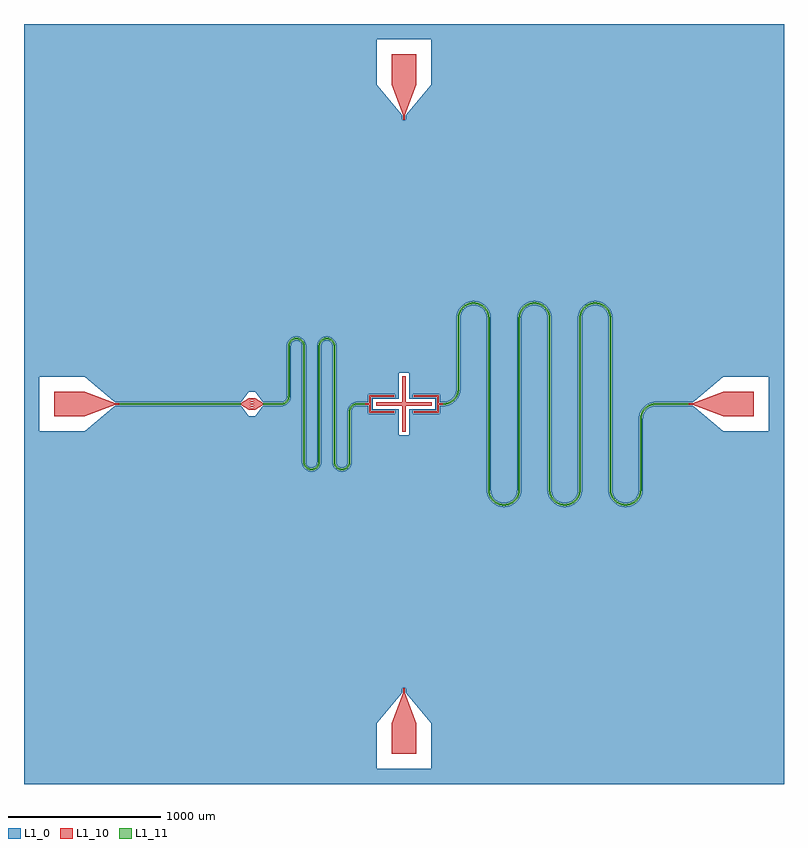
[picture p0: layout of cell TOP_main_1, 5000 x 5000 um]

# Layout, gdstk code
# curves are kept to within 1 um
import gdstk
lib = gdstk.Library(unit=1e-6, precision=1e-09)
def R(c, l, rs):  # rectangles x0, y0, x1, y1
    for r in rs: c.add(gdstk.rectangle(r[:2], r[2:], *l))
def A(c, l, x, y, w, h, nx, ny, dx, dy):  # array of equal rectangles
    R(c, l, [(x+i*dx, y+j*dy, x+i*dx+w, y+j*dy+h) for i in range(nx) for j in range(ny)])
def P(c, l, *ps):  # polygons
    for p in ps: c.add(gdstk.Polygon(p, *l))
L1_0 = (1, 0)
L1_10 = (1, 10)
L1_11 = (1, 11)

ground_main_1 = lib.new_cell('ground_main_1')
A(ground_main_1, L1_0, 3069, 2069.693, 178, 35.902, 5, 1, 200, 0)
A(ground_main_1, L1_0, 3069, 2105.595, 178, 372.597, 4, 1, 200, 0)
A(ground_main_1, L1_0, 3069, 2478.192, 178, 40.254, 4, 1, 200, 0)
A(ground_main_1, L1_0, 3069, 2518.446, 178, 377.583, 4, 1, 200, 0)
A(ground_main_1, L1_0, 2869, 2896.029, 178, 35.541, 5, 1, 200, 0)
R(ground_main_1, L1_0, [(4069,2069.693,5000,2105.595), (0,2478.192,100,2518.446), (1853,2478.192,1931,2518.446), (1953,2478.192,2031,2518.446), (2288,2478.192,2293,2518.446), (2707,2478.192,2712,2518.446), (4900,2478.192,5000,2518.446), (3869,2896.029,5000,2931.57)])
P(ground_main_1, L1_0, [(5000,1847.997),(4025.185,1847.997),(4009.187,1837.851),(3992.869,1830.964),(3975.664,1826.761),(3958.01,1825.348),(3940.336,1826.761),(3923.131,1830.964),(3906.813,1837.851),(3890.815,1847.997),(3625.185,1847.997),(3609.187,1837.851),(3592.869,1830.964),(3575.664,1826.761),(3558.01,1825.348),(3540.336,1826.761),(3523.131,1830.964),(3506.813,1837.851),(3490.815,1847.997),(3225.185,1847.997),(3209.187,1837.851),(3192.869,1830.964),(3175.664,1826.761),(3158.01,1825.348),(3140.336,1826.761),(3123.131,1830.964),(3106.813,1837.851),(3090.815,1847.997),(0,1847.997),(0,100),(2320,100),(2320,400),(2489,600),(2489,630),(2511,630),(2511,600),(2680,400),(2680,100),(0,100),(0,0),(5000,0)],
  [(3160.698,1847.389),(3163.383,1847.51),(3166.063,1847.713),(3168.737,1847.997),(3147.263,1847.997),(3149.937,1847.713),(3152.617,1847.51),(3155.302,1847.389),(3157.99,1847.348),(3158.01,1847.348)],
  [(3560.698,1847.389),(3563.383,1847.51),(3566.063,1847.713),(3568.737,1847.997),(3547.263,1847.997),(3549.937,1847.713),(3552.617,1847.51),(3555.302,1847.389),(3557.99,1847.348),(3558.01,1847.348)],
  [(3960.698,1847.389),(3963.383,1847.51),(3966.063,1847.713),(3968.737,1847.997),(3947.263,1847.997),(3949.937,1847.713),(3952.617,1847.51),(3955.302,1847.389),(3957.99,1847.348),(3958.01,1847.348)],
  [(3089.451,1849.039),(3068.897,1870.147),(0,1870.147),(0,1847.997),(3090.815,1847.997)],
  [(3171.4,1848.361),(3184.485,1851.377),(3196.967,1856.328),(3217.48,1870.147),(3098.52,1870.147),(3114.273,1858.826),(3131.515,1851.377),(3147.263,1847.997)],
  [(3489.451,1849.039),(3468.897,1870.147),(3247.103,1870.147),(3237.53,1858.908),(3225.185,1847.997),(3490.815,1847.997)],
  [(3571.4,1848.361),(3584.485,1851.377),(3596.967,1856.328),(3617.48,1870.147),(3498.52,1870.147),(3514.273,1858.826),(3531.515,1851.377),(3547.263,1847.997)],
  [(3889.451,1849.039),(3868.897,1870.147),(3647.103,1870.147),(3637.53,1858.908),(3625.185,1847.997),(3890.815,1847.997)],
  [(3971.4,1848.361),(3984.485,1851.377),(3996.967,1856.328),(4017.48,1870.147),(3898.52,1870.147),(3914.273,1858.826),(3931.515,1851.377),(3947.263,1847.997)],
  [(5000,1870.147),(4047.103,1870.147),(4037.53,1858.908),(4025.185,1847.997),(5000,1847.997)],
  [(3067.167,1872.542),(3056.919,1890.475),(3050.206,1909.863),(0,1909.863),(0,1870.147),(3068.897,1870.147)],
  [(3219.006,1871.541),(3232.741,1888.021),(3242.971,1909.863),(3073.029,1909.863),(3083.259,1888.021),(3098.52,1870.147),(3217.48,1870.147)],
  [(3467.167,1872.542),(3456.919,1890.475),(3450.206,1909.863),(3265.794,1909.863),(3257.825,1887.801),(3247.103,1870.147),(3468.897,1870.147)],
  [(3619.006,1871.541),(3632.741,1888.021),(3642.971,1909.863),(3473.029,1909.863),(3483.259,1888.021),(3498.52,1870.147),(3617.48,1870.147)],
  [(3867.167,1872.542),(3856.919,1890.475),(3850.206,1909.863),(3665.794,1909.863),(3657.825,1887.801),(3647.103,1870.147),(3868.897,1870.147)],
  [(4019.006,1871.541),(4032.741,1888.021),(4042.971,1909.863),(3873.029,1909.863),(3883.259,1888.021),(3898.52,1870.147),(4017.48,1870.147)],
  [(5000,1909.863),(4065.794,1909.863),(4057.825,1887.801),(4047.103,1870.147),(5000,1870.147)],
  [(3050.171,1909.997),(3047.039,1933.383),(3047,2069.693),(2127.498,2069.693),(2109.581,2060.891),(2092.01,2058.305),(2074.419,2060.891),(2056.502,2069.693),(1927.498,2069.693),(1909.581,2060.891),(1892.01,2058.305),(1874.419,2060.891),(1856.502,2069.693),(0,2069.693),(0,1909.863)],
  [(3243.731,1912.441),(3246.959,1933.65),(3247,2069.693),(3069,2069.693),(3069.041,1933.65),(3073.029,1909.863),(3242.971,1909.863)],
  [(3450.171,1909.997),(3447.039,1933.383),(3447,2069.693),(3269,2069.693),(3268.961,1933.383),(3265.794,1909.863)],
  [(3643.731,1912.441),(3646.959,1933.65),(3647,2069.693),(3469,2069.693),(3469.041,1933.65),(3473.029,1909.863),(3642.971,1909.863)],
  [(3850.171,1909.997),(3847.039,1933.383),(3847,2069.693),(3669,2069.693),(3668.961,1933.383),(3665.794,1909.863)],
  [(4043.731,1912.441),(4046.959,1933.65),(4047,2069.693),(3869,2069.693),(3869.041,1933.65),(3873.029,1909.863),(4042.971,1909.863)],
  [(5000,2069.693),(4069,2069.693),(4068.961,1933.383),(4065.794,1909.863),(5000,1909.863)],
  [(1854.715,2071.022),(1841.124,2085.643),(1832.565,2105.595),(0,2105.595),(0,2069.693),(1856.502,2069.693)],
  [(1893.759,2080.344),(1904.059,2082.213),(1914.928,2087.752),(1923.554,2096.377),(1928.514,2105.595),(1855.486,2105.595),(1861.506,2094.985),(1870.511,2086.755),(1881.617,2081.71)],
  [(2054.715,2071.022),(2041.124,2085.643),(2032.565,2105.595),(1951.435,2105.595),(1942.876,2085.643),(1935.917,2076.964),(1927.498,2069.693),(2056.502,2069.693)],
  [(2093.759,2080.344),(2104.059,2082.213),(2114.928,2087.752),(2123.554,2096.377),(2128.514,2105.595),(2055.486,2105.595),(2061.506,2094.985),(2070.511,2086.755),(2081.617,2081.71)],
  [(3047,2105.595),(2151.435,2105.595),(2142.876,2085.643),(2135.917,2076.964),(2127.498,2069.693),(3047,2069.693)],
  [(0,2478.192),(0,2105.595),(1832.565,2105.595),(1831,2119.295),(1831,2478.192),(1565.335,2478.192),(1523,2418.5),(1477,2418.5),(1434.665,2478.192),(587.209,2478.192),(400,2320),(100,2320),(100,2478.192)],
  [(1929.092,2107.247),(1931,2119.295),(1931,2478.192),(1853,2478.192),(1853.978,2110.619),(1855.486,2105.595),(1928.514,2105.595)],
  [(2032.459,2106.034),(2031,2119.295),(2031,2478.192),(1953,2478.192),(1953,2119.295),(1951.435,2105.595)],
  [(2129.092,2107.247),(2131,2119.295),(2131.041,2452.237),(2132.983,2465.436),(2137.907,2478.192),(2053,2478.192),(2053.978,2110.619),(2055.486,2105.595),(2128.514,2105.595)],
  [(2443,2459),(2443,2437),(2266,2437),(2266,2478.192),(2165.045,2478.192),(2161.506,2474.32),(2155.486,2463.71),(2153.039,2451.759),(2153,2119.295),(2151.435,2105.595),(3047,2105.595),(3047,2478.192),(2734,2478.192),(2734,2437),(2557,2437),(2557,2459),(2712,2459),(2712,2478.192),(2707,2478.192),(2707,2464),(2536,2464),(2536,2293),(2464,2293),(2464,2464),(2293,2464),(2293,2478.192),(2288,2478.192),(2288,2459)],
  [(4047,2400.01),(4049.508,2423.471),(4055.734,2443.166),(4065.5,2461.365),(4079.222,2478.192),(3869,2478.192),(3869,2105.595),(4047,2105.595)],
  [(5000,2478.192),(4900,2478.192),(4900,2320),(4600,2320),(4412.791,2478.192),(4115.504,2478.192),(4098.979,2466.62),(4084.753,2450.562),(4074.783,2431.566),(4069.649,2410.737),(4069,2105.595),(5000,2105.595)],
  [(1432.281,2518.446),(591.188,2518.446),(600,2511),(1427,2511)],
  [(1693.759,2511.039),(1704.059,2512.908),(1714.928,2518.446),(1567.719,2518.446),(1573,2511)],
  [(1831,2518.446),(1744.204,2518.446),(1737.434,2509.29),(1727.498,2500.387),(1715.863,2493.858),(1705.271,2490.459),(1692.01,2489),(1573,2489),(1565.335,2478.192),(1831,2478.192)],
  [(2138.804,2479.86),(2145.11,2489.024),(2152.976,2496.89),(2164.103,2504.251),(2174.419,2508.414),(2189.763,2510.959),(2266,2511),(2266,2518.446),(2053,2518.446),(2053,2478.192),(2137.907,2478.192)],
  [(2760.698,2511.041),(2776.687,2512.982),(2793.622,2518.446),(2734,2518.446),(2734,2511)],
  [(3047,2518.446),(2833.305,2518.446),(2814.356,2504.366),(2790.052,2493.726),(2764,2489),(2734,2489),(2734,2478.192),(3047,2478.192)],
  [(4080.56,2479.53),(4094.194,2490.833),(4109.453,2499.825),(4128.788,2507.09),(4146.192,2510.371),(4400,2511),(4408.812,2518.446),(3869,2518.446),(3869,2478.192),(4079.222,2478.192)],
  [(1427,2489),(600,2489),(587.209,2478.192),(1434.665,2478.192)],
  [(2266,2489),(2188.495,2488.843),(2175.073,2485.139),(2165.045,2478.192),(2266,2478.192)],
  [(4400,2489),(4155.302,2488.959),(4134.093,2485.731),(4115.504,2478.192),(4412.791,2478.192)],
  [(1716.32,2519.506),(1727.139,2533.073),(1730.961,2548.241),(1731,2880.705),(1732.958,2896.029),(0,2896.029),(0,2518.446),(100,2518.446),(100,2680),(400,2680),(591.188,2518.446),(1432.281,2518.446),(1477,2581.5),(1523,2581.5),(1567.719,2518.446),(1714.928,2518.446)],
  [(1831,2880.705),(1827.862,2896.029),(1756.138,2896.029),(1753.978,2889.381),(1752.959,2547.763),(1750.414,2532.419),(1744.204,2518.446),(1831,2518.446)],
  [(1931,2880.705),(1932.958,2896.029),(1851.042,2896.029),(1853,2880.705),(1853,2518.446),(1931,2518.446)],
  [(2031,2880.705),(2027.862,2896.029),(1956.138,2896.029),(1953.978,2889.381),(1953,2518.446),(2031,2518.446)],
  [(2794.533,2518.84),(2814.983,2531.628),(2829.687,2547.249),(2840.226,2565.935),(2845.987,2586.6),(2847,2896.029),(2051.042,2896.029),(2053,2880.705),(2053,2518.446),(2266,2518.446),(2266,2563),(2443,2563),(2443,2541),(2288,2541),(2288,2518.446),(2293,2518.446),(2293,2536),(2464,2536),(2464,2707),(2536,2707),(2536,2536),(2707,2536),(2707,2518.446),(2712,2518.446),(2712,2541),(2557,2541),(2557,2563),(2734,2563),(2734,2518.446)],
  [(3047,2896.029),(2869,2896.029),(2868.371,2588.192),(2865.09,2570.788),(2857.825,2551.453),(2847.103,2533.799),(2833.305,2518.446),(3047,2518.446)],
  [(5000,2896.029),(3869,2896.029),(3869,2518.446),(4408.812,2518.446),(4600,2680),(4900,2680),(4900,2518.446),(5000,2518.446)],
  [(1732.983,2896.131),(1736.767,2906.592),(1742.387,2916.192),(1749.658,2924.612),(1758.338,2931.57),(0,2931.57),(0,2896.029)],
  [(1932.983,2896.131),(1936.767,2906.592),(1942.387,2916.192),(1949.658,2924.612),(1958.338,2931.57),(1825.662,2931.57),(1834.342,2924.612),(1841.613,2916.192),(1847.233,2906.592),(1851.042,2896.029)],
  [(2847,2931.57),(2025.662,2931.57),(2034.342,2924.612),(2041.613,2916.192),(2047.233,2906.592),(2051.042,2896.029),(2847,2896.029)],
  [(1827.139,2897.622),(1820.192,2907.649),(1812.008,2914.176),(1802.383,2918.29),(1790.241,2919.656),(1779.941,2917.787),(1770.511,2913.245),(1761.506,2905.015),(1756.138,2896.029),(1827.862,2896.029)],
  [(2027.139,2897.622),(2020.192,2907.649),(2012.008,2914.176),(2002.383,2918.29),(1990.241,2919.656),(1979.941,2917.787),(1970.511,2913.245),(1961.506,2905.015),(1956.138,2896.029),(2027.862,2896.029)],
  [(2847,3063.662),(2850.206,3090.137),(0,3090.137),(0,2931.57),(1758.338,2931.57),(1774.419,2939.109),(1791.99,2941.695),(1809.581,2939.109),(1825.662,2931.57),(1958.338,2931.57),(1974.419,2939.109),(1991.99,2941.695),(2009.581,2939.109),(2025.662,2931.57),(2847,2931.57)],
  [(3047,3063.662),(3045.987,3077.052),(3042.971,3090.137),(2873.029,3090.137),(2869.041,3066.35),(2869,2931.57),(3047,2931.57)],
  [(3247,3063.662),(3250.206,3090.137),(3065.794,3090.137),(3068.961,3066.617),(3069,2931.57),(3247,2931.57)],
  [(3447,3063.662),(3445.987,3077.052),(3442.971,3090.137),(3273.029,3090.137),(3269.041,3066.35),(3269,2931.57),(3447,2931.57)],
  [(3647,3063.662),(3650.206,3090.137),(3465.794,3090.137),(3468.961,3066.617),(3469,2931.57),(3647,2931.57)],
  [(3847,3063.662),(3845.987,3077.052),(3842.971,3090.137),(3673.029,3090.137),(3669.041,3066.35),(3669,2931.57),(3847,2931.57)],
  [(5000,3090.137),(3865.794,3090.137),(3868.961,3066.617),(3869,2931.57),(5000,2931.57)],
  [(2850.91,3092.864),(2858.175,3112.199),(2868.897,3129.853),(0,3129.853),(0,3090.137),(2850.206,3090.137)],
  [(3042.132,3092.691),(3032.741,3111.979),(3017.48,3129.853),(2898.52,3129.853),(2883.259,3111.979),(2873.029,3090.137),(3042.971,3090.137)],
  [(3250.91,3092.864),(3258.175,3112.199),(3268.897,3129.853),(3047.103,3129.853),(3057.825,3112.199),(3065.794,3090.137),(3250.206,3090.137)],
  [(3442.132,3092.691),(3432.741,3111.979),(3417.48,3129.853),(3298.52,3129.853),(3283.259,3111.979),(3273.029,3090.137),(3442.971,3090.137)],
  [(3650.91,3092.864),(3658.175,3112.199),(3668.897,3129.853),(3447.103,3129.853),(3457.825,3112.199),(3465.794,3090.137),(3650.206,3090.137)],
  [(3842.132,3092.691),(3832.741,3111.979),(3817.48,3129.853),(3698.52,3129.853),(3683.259,3111.979),(3673.029,3090.137),(3842.971,3090.137)],
  [(5000,3129.853),(3847.103,3129.853),(3857.825,3112.199),(3865.794,3090.137),(5000,3090.137)],
  [(2870.691,3132.201),(2890.815,3152.003),(0,3152.003),(0,3129.853),(2868.897,3129.853)],
  [(3017.021,3130.272),(3001.727,3141.174),(2984.485,3148.623),(2968.737,3152.003),(2947.263,3152.003),(2934.093,3149.384),(2921.467,3144.812),(2909.673,3138.393),(2898.52,3129.853)],
  [(3269.365,3130.466),(3278.47,3141.092),(3290.815,3152.003),(3025.185,3152.003),(3037.53,3141.092),(3047.103,3129.853)],
  [(3417.021,3130.272),(3401.727,3141.174),(3384.485,3148.623),(3368.737,3152.003),(3347.263,3152.003),(3334.093,3149.384),(3321.467,3144.812),(3309.673,3138.393),(3298.52,3129.853)],
  [(3670.691,3132.201),(3690.815,3152.003),(3425.185,3152.003),(3437.53,3141.092),(3447.103,3129.853),(3668.897,3129.853)],
  [(3817.021,3130.272),(3801.727,3141.174),(3784.485,3148.623),(3768.737,3152.003),(3747.263,3152.003),(3734.093,3149.384),(3721.467,3144.812),(3709.673,3138.393),(3698.52,3129.853)],
  [(5000,3152.003),(3825.185,3152.003),(3837.53,3141.092),(3847.103,3129.853),(5000,3129.853)],
  [(2890.815,3152.003),(2906.813,3162.149),(2923.131,3169.036),(2940.336,3173.239),(2957.99,3174.652),(2975.664,3173.239),(2992.869,3169.036),(3009.187,3162.149),(3025.185,3152.003),(3290.815,3152.003),(3306.813,3162.149),(3323.131,3169.036),(3340.336,3173.239),(3357.99,3174.652),(3375.664,3173.239),(3392.869,3169.036),(3409.187,3162.149),(3425.185,3152.003),(3690.815,3152.003),(3706.813,3162.149),(3723.131,3169.036),(3740.336,3173.239),(3757.99,3174.652),(3775.664,3173.239),(3792.869,3169.036),(3809.187,3162.149),(3825.185,3152.003),(5000,3152.003),(5000,5000),(0,5000),(0,4600),(2320,4600),(2320,4900),(2680,4900),(2680,4600),(2511,4400),(2511,4370),(2489,4370),(2489,4400),(2320,4600),(0,4600),(0,3152.003)],
  [(2966.063,3152.287),(2963.383,3152.49),(2960.698,3152.611),(2958.01,3152.652),(2957.99,3152.652),(2955.302,3152.611),(2952.617,3152.49),(2949.937,3152.287),(2947.263,3152.003),(2968.737,3152.003)],
  [(3366.063,3152.287),(3363.383,3152.49),(3360.698,3152.611),(3358.01,3152.652),(3357.99,3152.652),(3355.302,3152.611),(3352.617,3152.49),(3349.937,3152.287),(3347.263,3152.003),(3368.737,3152.003)],
  [(3766.063,3152.287),(3763.383,3152.49),(3760.698,3152.611),(3758.01,3152.652),(3757.99,3152.652),(3755.302,3152.611),(3752.617,3152.49),(3749.937,3152.287),(3747.263,3152.003),(3768.737,3152.003)])

top_main_1 = lib.new_cell('TOP_main_1')
P(top_main_1, L1_10, [(2495,600),(2420,400),(2420,200),(2580,200),(2580,400),(2505,600),(2505,630),(2495,630),(2495,600)],
  [(4400,2495),(4600,2420),(4800,2420),(4800,2580),(4600,2580),(4400,2505),(4370,2505),(4370,2495),(4400,2495)],
  [(2505,4400),(2580,4600),(2580,4800),(2420,4800),(2420,4600),(2495,4400),(2495,4370),(2505,4370),(2505,4400)],
  [(600,2505),(400,2580),(200,2580),(200,2420),(400,2420),(600,2495),(630,2495),(630,2505),(600,2505)],
  [(2317,2488),(2317,2512),(2488,2512),(2488,2683),(2512,2683),(2512,2512),(2683,2512),(2683,2488),(2512,2488),(2512,2317),(2488,2317),(2488,2488),(2317,2488)],
  [(2242,2505),(2272,2505),(2272,2557),(2437,2557),(2437,2547),(2282,2547),(2282,2505),(2282,2495),(2282,2453),(2437,2453),(2437,2443),(2272,2443),(2272,2495),(2242,2495),(2242,2505)],
  [(2758,2495),(2728,2495),(2728,2443),(2563,2443),(2563,2453),(2718,2453),(2718,2495),(2718,2505),(2718,2547),(2563,2547),(2563,2557),(2728,2557),(2728,2505),(2758,2505),(2758,2495)],
  [(1523,2537),(1523,2463),(1493,2463),(1493,2473),(1513,2473),(1513,2495),(1493,2495),(1493,2505),(1513,2505),(1513,2527),(1493,2527),(1493,2537),(1523,2537)],
  [(1477,2463),(1477,2537),(1487,2537),(1487,2521),(1507,2521),(1507,2511),(1487,2511),(1487,2489),(1507,2489),(1507,2479),(1487,2479),(1487,2463),(1477,2463)],
  [(1477,2537),(1427,2505),(1427,2495),(1477,2463),(1477,2537)],
  [(1523,2537),(1573,2505),(1573,2495),(1523,2463),(1523,2537)])
A(top_main_1, L1_11, 1837, 2451.919, 10, 98.071, 3, 1, 100, 0)
R(top_main_1, L1_11, [(630,2495,1427,2505)])
P(top_main_1, L1_11, [(1894.116,2064.345),(1906.581,2066.271),(1916.41,2070.015),(1926.997,2076.871),(1934.434,2084.308),(1920.294,2084.308),(1906.998,2076.875),(1892.01,2074.305),(1877.002,2076.875),(1863.706,2084.308),(1849.566,2084.308),(1858.654,2075.562),(1869.495,2069.117),(1881.52,2065.311)],
  [(2094.116,2064.345),(2106.581,2066.271),(2116.41,2070.015),(2126.997,2076.871),(2134.434,2084.308),(2120.294,2084.308),(2106.998,2076.875),(2092.01,2074.305),(2077.002,2076.875),(2063.706,2084.308),(2049.566,2084.308),(2058.654,2075.562),(2069.495,2069.117),(2081.52,2065.311)],
  [(1862.266,2085.522),(1851.817,2099.04),(1847.162,2115.48),(1847,2451.919),(1837,2451.919),(1837.161,2115.086),(1840.987,2098.739),(1849.566,2084.308),(1863.706,2084.308)],
  [(1935.743,2085.959),(1943.763,2100.708),(1946.96,2117.189),(1947,2451.919),(1937,2451.919),(1936.838,2115.48),(1932.183,2099.04),(1927.014,2091.032),(1920.294,2084.308),(1934.434,2084.308)],
  [(2062.266,2085.522),(2051.817,2099.04),(2047.162,2115.48),(2047,2451.919),(2037,2451.919),(2037.161,2115.086),(2040.987,2098.739),(2049.566,2084.308),(2063.706,2084.308)],
  [(2135.743,2085.959),(2143.763,2100.708),(2146.96,2117.189),(2147.041,2451.919),(2137.037,2451.919),(2136.838,2115.48),(2132.183,2099.04),(2127.014,2091.032),(2120.294,2084.308),(2134.434,2084.308)],
  [(1694.116,2495.04),(1704.54,2496.446),(1714.505,2499.811),(1723.647,2505.012),(1731.631,2511.858),(1738.167,2520.099),(1743.013,2529.434),(1745.994,2539.52),(1747,2549.99),(1737,2549.99),(1735.028,2536.816),(1728.182,2523.237),(1717.203,2512.715),(1703.346,2506.452),(1692.01,2505),(1573,2505),(1573,2495)],
  [(2147.162,2453.825),(2149.57,2464.998),(2154.715,2475.203),(2162.266,2483.783),(2170.049,2489.287),(2178.816,2493.028),(2188.175,2494.838),(2242,2495),(2242,2505),(2187.781,2504.839),(2175.398,2502.437),(2165.72,2498.319),(2150.937,2486.596),(2140.987,2470.566),(2137.037,2451.919),(2147.041,2451.919)],
  [(1747,2880.705),(1748.01,2890.183),(1751.817,2900.96),(1756.986,2908.968),(1763.706,2915.692),(1749.566,2915.692),(1740.987,2901.261),(1737.161,2884.914),(1737,2549.99),(1747,2549.99)],
  [(1847,2880.705),(1843.763,2899.292),(1835.743,2914.041),(1834.434,2915.692),(1820.294,2915.692),(1827.014,2908.968),(1832.183,2900.96),(1835.548,2892.041),(1836.959,2882.614),(1837,2549.99),(1847,2549.99)],
  [(1947,2880.705),(1948.01,2890.183),(1951.817,2900.96),(1956.986,2908.968),(1963.706,2915.692),(1949.566,2915.692),(1940.987,2901.261),(1937.161,2884.914),(1937,2549.99),(1947,2549.99)],
  [(2047,2880.705),(2043.763,2899.292),(2035.743,2914.041),(2034.434,2915.692),(2020.294,2915.692),(2027.014,2908.968),(2032.183,2900.96),(2035.548,2892.041),(2036.959,2882.614),(2037,2549.99),(2047,2549.99)],
  [(1833.063,2917.291),(1823.647,2925.683),(1812.566,2931.708),(1802.48,2934.689),(1789.884,2935.655),(1777.419,2933.729),(1767.59,2929.985),(1757.003,2923.129),(1749.566,2915.692),(1763.706,2915.692),(1777.002,2923.125),(1791.99,2925.695),(1806.998,2923.125),(1820.294,2915.692),(1834.434,2915.692)],
  [(2033.063,2917.291),(2023.647,2925.683),(2012.566,2931.708),(2002.48,2934.689),(1989.884,2935.655),(1977.419,2933.729),(1967.59,2929.985),(1957.003,2923.129),(1949.566,2915.692),(1963.706,2915.692),(1977.002,2923.125),(1991.99,2925.695),(2006.998,2923.125),(2020.294,2915.692),(2034.434,2915.692)],
  [(4000.184,1840.191),(4012.99,1846.895),(4024.755,1855.294),(4042.607,1874.159),(4055.283,1896.829),(4059.787,1910.564),(4062.363,1924.788),(4063.04,2402.773),(4066.237,2424.595),(4074.38,2445.092),(4085.223,2461.068),(4101.266,2476.204),(4117.845,2486.1),(4138.781,2493.038),(4157.99,2495),(4370,2495),(4370,2505),(4157.99,2505),(4140.709,2503.568),(4118.481,2497.283),(4095.811,2484.607),(4078.816,2468.962),(4065.654,2449.98),(4056.961,2428.578),(4053.04,2402.903),(4052.358,1925.31),(4048.179,1906.459),(4038.858,1886.47),(4030.777,1875.28),(4021.159,1865.378),(4010.208,1856.975),(3998.155,1850.248),(3998.155,1839.334)],
  [(2760.903,2495.04),(2778.138,2496.947),(2797.519,2502.717),(2812.99,2510.547),(2826.962,2520.816),(2839.054,2533.245),(2848.934,2547.495),(2856.334,2563.177),(2861.219,2580.781),(2851.038,2580.781),(2846.289,2564.919),(2838.858,2550.122),(2828.97,2536.841),(2819.068,2527.223),(2805.505,2517.726),(2790.498,2510.729),(2774.505,2506.443),(2758,2505),(2758,2495)],
  [(2861.568,2582.709),(2863,2599.99),(2863.361,3071.941),(2867.821,3093.541),(2877.142,3113.53),(2885.223,3124.72),(2894.841,3134.622),(2905.792,3143.025),(2918.481,3150.038),(2918.481,3160.935),(2905.495,3154.586),(2893.504,3146.514),(2875.138,3128.148),(2867.066,3116.157),(2860.717,3103.171),(2856.213,3089.436),(2853.637,3075.212),(2853,2599.99),(2851.038,2580.781),(2861.219,2580.781)],
  [(3087.03,1873.189),(3077.142,1886.47),(3069.711,1901.267),(3064.962,1917.129),(3063.04,1933.575),(3062.841,3069.446),(3059.039,3092.23),(3048.934,3116.157),(3046.348,3120.386),(3034.204,3120.386),(3042.896,3106.294),(3048.179,3093.541),(3051.557,3080.157),(3052.96,3066.425),(3053.159,1930.554),(3056.961,1907.77),(3067.066,1883.843),(3076.946,1869.593),(3087.03,1858.962)],
  [(3045.904,3121.086),(3035.254,3134.77),(3022.496,3146.514),(3007.98,3155.998),(2989.351,3163.865),(2969.56,3168.015),(2952.206,3168.493),(2935.031,3166.111),(2918.481,3160.935),(2918.481,3150.038),(2936.084,3156.092),(2952.467,3158.491),(2969.038,3158.01),(2985.253,3154.662),(2998.155,3149.752),(3012.494,3141.473),(3025.178,3130.83),(3034.204,3120.386)],
  [(3160.903,1831.388),(3178.138,1833.295),(3197.519,1839.065),(3215.434,1848.444),(3230.227,1860.144),(3214.734,1860.144),(3200.641,1851.452),(3187.889,1846.169),(3174.505,1842.791),(3158.01,1841.348),(3144.223,1842.351),(3128.111,1846.169),(3115.359,1851.452),(3101.266,1860.144),(3087.03,1860.144),(3089.038,1857.164),(3100.566,1848.444),(3121.177,1838.014),(3140.709,1832.78)],
  [(3231.219,1861.083),(3244.288,1876.514),(3254.157,1894.164),(3260.459,1913.379),(3262.96,1933.445),(3263,3063.662),(3266.237,3088.247),(3266.237,3114.674),(3256.213,3089.436),(3253,3063.662),(3252.96,1933.575),(3250.44,1914.432),(3242.896,1893.706),(3230.777,1875.28),(3214.734,1860.144)],
  [(3099.074,1861.826),(3096.932,1863.571),(3094.841,1865.378),(3092.804,1867.245),(3090.822,1869.17),(3088.897,1871.152),(3087.03,1873.189),(3087.03,1860.144),(3101.266,1860.144)],
  [(3266.991,3090.906),(3273.104,3106.294),(3280.179,3118.146),(3290.822,3130.83),(3302.72,3140.906),(3286.882,3140.906),(3273.393,3125.841),(3266.237,3114.674),(3266.237,3088.247)],
  [(3458.213,3095.003),(3454.157,3105.836),(3447.453,3118.643),(3440.862,3128.148),(3433.265,3136.871),(3429.118,3140.906),(3413.28,3140.906),(3421.159,3134.622),(3428.97,3126.811),(3435.821,3118.146),(3441.62,3108.744),(3446.289,3098.733),(3449.763,3088.247),(3451.997,3077.429),(3452.96,3066.425),(3453,1936.338),(3454.432,1919.057),(3458.213,1903.698)],
  [(3426.962,3142.836),(3410.505,3154.586),(3394.823,3161.986),(3378.138,3166.705),(3357.99,3168.652),(3337.862,3166.705),(3318.481,3160.935),(3300.566,3151.556),(3286.882,3140.906),(3302.72,3140.906),(3315.359,3148.548),(3328.111,3153.831),(3341.495,3157.209),(3357.99,3158.652),(3371.777,3157.649),(3387.889,3153.831),(3400.641,3148.548),(3413.28,3140.906),(3429.118,3140.906)],
  [(3560.903,1831.388),(3578.138,1833.295),(3597.519,1839.065),(3615.434,1848.444),(3630.227,1860.144),(3614.734,1860.144),(3600.641,1851.452),(3587.889,1846.169),(3574.505,1842.791),(3558.01,1841.348),(3544.223,1842.351),(3528.111,1846.169),(3515.359,1851.452),(3501.266,1860.144),(3485.773,1860.144),(3503.01,1846.895),(3521.177,1838.014),(3540.709,1832.78)],
  [(3499.074,1861.826),(3490.822,1869.17),(3483.478,1877.422),(3473.104,1893.706),(3468.729,1903.849),(3465.56,1914.432),(3463.04,1933.575),(3463,3063.662),(3462.005,3078.083),(3458.213,3095.003),(3458.213,1903.698),(3463.042,1891.531),(3468.547,1881.357),(3475.138,1871.852),(3482.735,1863.129),(3485.773,1860.144),(3501.266,1860.144)],
  [(3631.219,1861.083),(3640.862,1871.852),(3650.346,1886.368),(3650.346,1914.061),(3645.231,1898.714),(3637.373,1884.14),(3627.103,1871.152),(3614.734,1860.144),(3630.227,1860.144)],
  [(3651.688,1888.931),(3660.459,1913.379),(3663,1936.338),(3663.04,3066.425),(3665.56,3085.568),(3673.104,3106.294),(3685.223,3124.72),(3701.266,3139.856),(3685.773,3139.856),(3670.096,3121.086),(3663.042,3108.469),(3657.787,3095.003),(3654.432,3080.943),(3653.04,3066.555),(3653,1936.338),(3650.346,1914.061),(3650.346,1886.368)],
  [(3830.777,3139.336),(3830.227,3139.856),(3814.734,3139.856),(3816.926,3138.174),(3819.068,3136.429),(3821.159,3134.622),(3823.196,3132.755),(3825.178,3130.83),(3827.103,3128.848),(3828.97,3126.811),(3830.777,3124.72)],
  [(3829.118,3140.906),(3815.434,3151.556),(3797.519,3160.935),(3778.138,3166.705),(3757.99,3168.652),(3737.862,3166.705),(3718.481,3160.935),(3700.566,3151.556),(3685.773,3139.856),(3701.266,3139.856),(3715.359,3148.548),(3728.111,3153.831),(3741.495,3157.209),(3757.99,3158.652),(3771.777,3157.649),(3787.889,3153.831),(3800.641,3148.548),(3814.734,3139.856),(3830.227,3139.856)],
  [(3960.903,1831.388),(3980.969,1833.889),(3998.155,1839.334),(3998.155,1850.248),(3982.595,1844.585),(3966.289,1841.709),(3949.711,1841.709),(3936.084,1843.908),(3920.366,1849.117),(3905.792,1856.975),(3892.804,1867.245),(3881.796,1879.614),(3869.652,1879.614),(3886.882,1859.094),(3908.02,1844.002),(3921.177,1838.014),(3935.031,1833.889)],
  [(3880.179,1881.854),(3873.104,1893.706),(3867.821,1906.459),(3864.443,1919.843),(3863.04,1933.575),(3862.96,3066.555),(3860.459,3086.621),(3854.157,3105.836),(3844.288,3123.486),(3830.777,3139.336),(3830.777,3124.72),(3838.858,3113.53),(3846.289,3098.733),(3851.038,3082.871),(3852.96,3066.425),(3853.04,1933.445),(3856.961,1907.77),(3865.654,1886.368),(3869.652,1879.614),(3881.796,1879.614)])
top_main_1.add(gdstk.Reference(ground_main_1, (0,0)))

lib.write_gds('TOP_main_1.gds')
